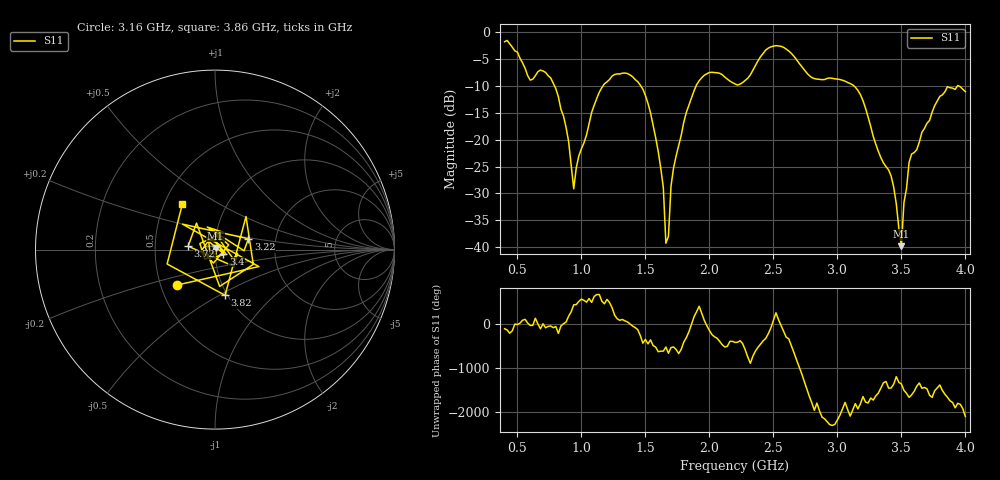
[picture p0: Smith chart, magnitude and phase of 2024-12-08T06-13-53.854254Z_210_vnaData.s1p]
!Created with skrf (http://scikit-rf.org).
# Hz S RI R 50.0
!freq ReS11 ImS11
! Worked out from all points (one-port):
!   181 points, 400 MHz to 4 GHz, reference 50 ohm
!   lowest |S11| = -39.8 dB at 3.5 GHz (marker M1), VSWR 1.02, Z = 50.3 + j0.969 ohm
!   |S11| at or under -10 dB: 789.9 MHz to 1.169 GHz (378.8 MHz wide, 38.7 % of centre); 1.464 GHz to 1.896 GHz (432.6 MHz wide, 25.8 % of centre); 3.129 GHz to 3.938 GHz (809.5 MHz wide, 22.9 % of centre) (the widest 3 of 4)
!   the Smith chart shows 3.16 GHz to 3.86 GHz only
!   S11 on the Smith chart (normalised r, x): 3.16 GHz: 0.61, -0.26; 3.22 GHz: 1.44, +0.18; 3.4 GHz: 1.10, -0.05; 3.72 GHz: 0.74, +0.03; 3.82 GHz: 0.98, -0.53; 3.86 GHz: 0.62, +0.35
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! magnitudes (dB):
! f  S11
! 400 MHz  -1.8
! 600 MHz  -8.9
! 760 MHz  -8.5
! 860 MHz  -15.6
! 940 MHz  -29.1
! 1.12 GHz  -12.3
! 1.3 GHz  -7.8
! 1.52 GHz  -13.2
! 1.64 GHz  -28.9
! 1.66 GHz  -39.3
! 1.68 GHz  -38.0
! 1.7 GHz  -28.7
! 1.76 GHz  -21.1
! 1.94 GHz  -8.5
! 2.2 GHz  -9.6
! 2.48 GHz  -2.7
! 2.66 GHz  -4.5
! 3.1 GHz  -9.6
! 3.16 GHz  -10.8
! 3.22 GHz  -14.2
! 3.4 GHz  -25.6
! 3.5 GHz  -39.8
! 3.52 GHz  -31.7
! 3.56 GHz  -24.2
! 3.72 GHz  -16.4
! 3.82 GHz  -11.7
! 3.86 GHz  -10.1
! 4 GHz  -11.1
